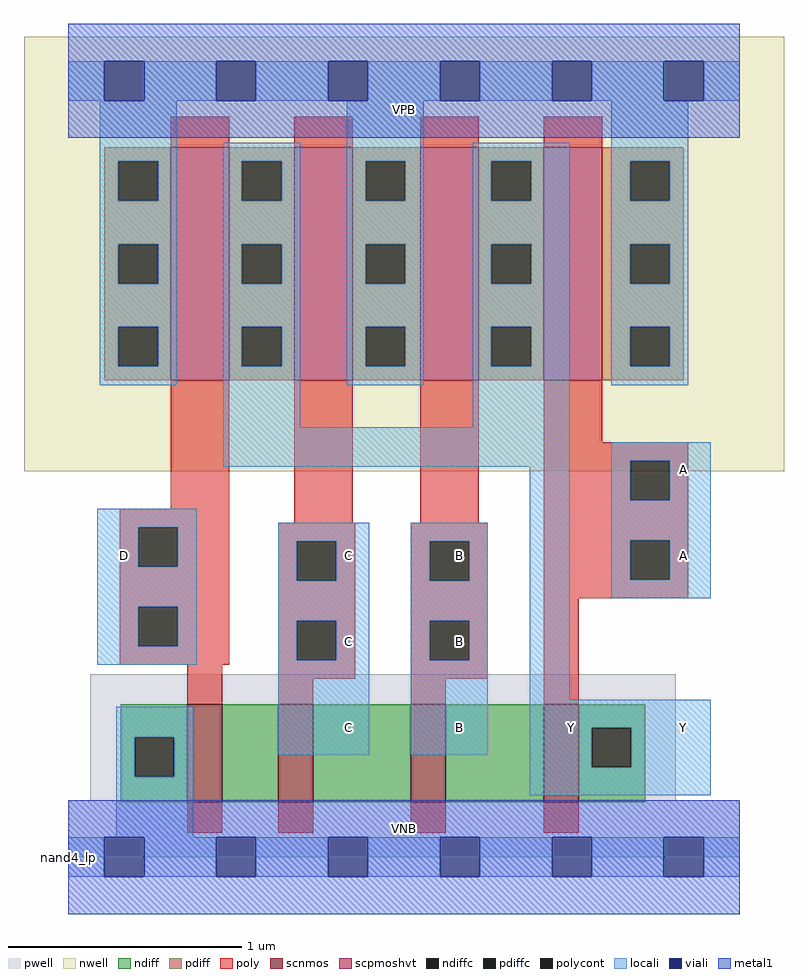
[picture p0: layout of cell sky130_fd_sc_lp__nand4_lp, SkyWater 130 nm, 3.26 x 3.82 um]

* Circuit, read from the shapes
.subckt sky130_fd_sc_lp__nand4_lp A B C D VGND VNB VPB VPWR Y
XM1 n1 D VGND VNB sky130_fd_pr__nfet_01v8 w=0.42 l=0.15
XM2 n2 C n1 VNB sky130_fd_pr__nfet_01v8 w=0.42 l=0.15
XM3 n3 B n2 VNB sky130_fd_pr__nfet_01v8 w=0.42 l=0.15
XM4 Y A n3 VNB sky130_fd_pr__nfet_01v8 w=0.42 l=0.15
XM5 Y D VPWR VPB sky130_fd_pr__pfet_01v8_hvt w=1 l=0.25
XM6 VPWR C Y VPB sky130_fd_pr__pfet_01v8_hvt w=1 l=0.25
XM7 Y B VPWR VPB sky130_fd_pr__pfet_01v8_hvt w=1 l=0.25
XM8 VPWR A Y VPB sky130_fd_pr__pfet_01v8_hvt w=1 l=0.25
.ends

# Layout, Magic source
magic
tech sky130A
magscale 1 2
<< nwell >>
rect -38 331 614 704
<< pwell >>
rect 19 49 521 157
rect 0 0 576 49
<< scnmos >>
rect 102 47 132 131
rect 180 47 210 131
rect 294 47 324 131
rect 408 47 438 131
<< scpmoshvt >>
rect 88 409 138 609
rect 194 409 244 609
rect 302 409 352 609
rect 408 409 458 609
<< ndiff >>
rect 45 103 102 131
rect 45 69 57 103
rect 91 69 102 103
rect 45 47 102 69
rect 132 47 180 131
rect 210 47 294 131
rect 324 47 408 131
rect 438 111 495 131
rect 438 77 449 111
rect 483 77 495 111
rect 438 47 495 77
<< pdiff >>
rect 31 597 88 609
rect 31 563 43 597
rect 77 563 88 597
rect 31 526 88 563
rect 31 492 43 526
rect 77 492 88 526
rect 31 455 88 492
rect 31 421 43 455
rect 77 421 88 455
rect 31 409 88 421
rect 138 597 194 609
rect 138 563 149 597
rect 183 563 194 597
rect 138 526 194 563
rect 138 492 149 526
rect 183 492 194 526
rect 138 455 194 492
rect 138 421 149 455
rect 183 421 194 455
rect 138 409 194 421
rect 244 597 302 609
rect 244 563 255 597
rect 289 563 302 597
rect 244 526 302 563
rect 244 492 255 526
rect 289 492 302 526
rect 244 455 302 492
rect 244 421 255 455
rect 289 421 302 455
rect 244 409 302 421
rect 352 597 408 609
rect 352 563 363 597
rect 397 563 408 597
rect 352 526 408 563
rect 352 492 363 526
rect 397 492 408 526
rect 352 455 408 492
rect 352 421 363 455
rect 397 421 408 455
rect 352 409 408 421
rect 458 597 528 609
rect 458 563 482 597
rect 516 563 528 597
rect 458 526 528 563
rect 458 492 482 526
rect 516 492 528 526
rect 458 455 528 492
rect 458 421 482 455
rect 516 421 528 455
rect 458 409 528 421
<< ndiffc >>
rect 57 69 91 103
rect 449 77 483 111
<< pdiffc >>
rect 43 563 77 597
rect 43 492 77 526
rect 43 421 77 455
rect 149 563 183 597
rect 149 492 183 526
rect 149 421 183 455
rect 255 563 289 597
rect 255 492 289 526
rect 255 421 289 455
rect 363 563 397 597
rect 363 492 397 526
rect 363 421 397 455
rect 482 563 516 597
rect 482 492 516 526
rect 482 421 516 455
<< poly >>
rect 88 609 138 635
rect 194 609 244 635
rect 302 609 352 635
rect 408 609 458 635
rect 88 299 138 409
rect 44 283 138 299
rect 194 287 244 409
rect 302 287 352 409
rect 408 356 458 409
rect 408 340 532 356
rect 408 306 482 340
rect 516 306 532 340
rect 44 249 60 283
rect 94 249 138 283
rect 44 215 138 249
rect 44 181 60 215
rect 94 181 138 215
rect 44 165 138 181
rect 180 271 246 287
rect 180 237 196 271
rect 230 237 246 271
rect 180 203 246 237
rect 180 169 196 203
rect 230 169 246 203
rect 102 131 132 165
rect 180 153 246 169
rect 294 271 360 287
rect 294 237 310 271
rect 344 237 360 271
rect 294 203 360 237
rect 294 169 310 203
rect 344 169 360 203
rect 294 153 360 169
rect 408 272 532 306
rect 408 238 482 272
rect 516 238 532 272
rect 408 222 532 238
rect 180 131 210 153
rect 294 131 324 153
rect 408 131 438 222
rect 102 21 132 47
rect 180 21 210 47
rect 294 21 324 47
rect 408 21 438 47
<< polycont >>
rect 482 306 516 340
rect 60 249 94 283
rect 60 181 94 215
rect 196 237 230 271
rect 196 169 230 203
rect 310 237 344 271
rect 310 169 344 203
rect 482 238 516 272
<< locali >>
rect 0 649 31 683
rect 65 649 127 683
rect 161 649 223 683
rect 257 649 319 683
rect 353 649 415 683
rect 449 649 511 683
rect 545 649 576 683
rect 27 597 93 649
rect 27 563 43 597
rect 77 563 93 597
rect 27 526 93 563
rect 27 492 43 526
rect 77 492 93 526
rect 27 455 93 492
rect 27 421 43 455
rect 77 421 93 455
rect 27 405 93 421
rect 133 597 199 613
rect 133 563 149 597
rect 183 563 199 597
rect 133 526 199 563
rect 133 492 149 526
rect 183 492 199 526
rect 133 455 199 492
rect 133 421 149 455
rect 183 421 199 455
rect 133 369 199 421
rect 239 597 305 649
rect 239 563 255 597
rect 289 563 305 597
rect 239 526 305 563
rect 239 492 255 526
rect 289 492 305 526
rect 239 455 305 492
rect 239 421 255 455
rect 289 421 305 455
rect 239 405 305 421
rect 347 597 430 613
rect 347 563 363 597
rect 397 563 430 597
rect 347 526 430 563
rect 347 492 363 526
rect 397 492 430 526
rect 347 455 430 492
rect 347 421 363 455
rect 397 421 430 455
rect 347 369 430 421
rect 466 597 532 649
rect 466 563 482 597
rect 516 563 532 597
rect 466 526 532 563
rect 466 492 482 526
rect 516 492 532 526
rect 466 455 532 492
rect 466 421 482 455
rect 516 421 532 455
rect 466 405 532 421
rect 133 335 430 369
rect 25 283 110 299
rect 25 249 60 283
rect 94 249 110 283
rect 25 215 110 249
rect 25 181 60 215
rect 94 181 110 215
rect 25 165 110 181
rect 180 271 258 287
rect 180 237 196 271
rect 230 237 258 271
rect 180 203 258 237
rect 180 169 196 203
rect 230 169 258 203
rect 41 103 107 129
rect 41 69 57 103
rect 91 69 107 103
rect 180 88 258 169
rect 294 271 360 287
rect 294 237 310 271
rect 344 237 360 271
rect 294 203 360 237
rect 294 169 310 203
rect 344 169 360 203
rect 294 88 360 169
rect 396 135 430 335
rect 466 340 551 356
rect 466 306 482 340
rect 516 306 551 340
rect 466 272 551 306
rect 466 238 482 272
rect 516 238 551 272
rect 466 222 551 238
rect 396 111 551 135
rect 41 17 107 69
rect 396 77 449 111
rect 483 77 551 111
rect 396 53 551 77
rect 0 -17 31 17
rect 65 -17 127 17
rect 161 -17 223 17
rect 257 -17 319 17
rect 353 -17 415 17
rect 449 -17 511 17
rect 545 -17 576 17
<< viali >>
rect 31 649 65 683
rect 127 649 161 683
rect 223 649 257 683
rect 319 649 353 683
rect 415 649 449 683
rect 511 649 545 683
rect 31 -17 65 17
rect 127 -17 161 17
rect 223 -17 257 17
rect 319 -17 353 17
rect 415 -17 449 17
rect 511 -17 545 17
<< metal1 >>
rect 0 683 576 715
rect 0 649 31 683
rect 65 649 127 683
rect 161 649 223 683
rect 257 649 319 683
rect 353 649 415 683
rect 449 649 511 683
rect 545 649 576 683
rect 0 617 576 649
rect 0 17 576 49
rect 0 -17 31 17
rect 65 -17 127 17
rect 161 -17 223 17
rect 257 -17 319 17
rect 353 -17 415 17
rect 449 -17 511 17
rect 545 -17 576 17
rect 0 -49 576 -17
<< labels >>
flabel pwell s 0 0 576 49 0 FreeSans 200 0 0 0 VNB
port 6 nsew ground bidirectional
flabel nwell s 0 617 576 666 0 FreeSans 200 0 0 0 VPB
port 7 nsew power bidirectional
rlabel comment s 0 0 0 0 4 nand4_lp
flabel metal1 s 0 617 576 666 0 FreeSans 340 0 0 0 VPWR
port 8 nsew power bidirectional
flabel metal1 s 0 0 576 49 0 FreeSans 340 0 0 0 VGND
port 5 nsew ground bidirectional
flabel locali s 223 94 257 128 0 FreeSans 340 0 0 0 C
port 3 nsew signal input
flabel locali s 223 168 257 202 0 FreeSans 340 0 0 0 C
port 3 nsew signal input
flabel locali s 223 242 257 276 0 FreeSans 340 0 0 0 C
port 3 nsew signal input
flabel locali s 319 94 353 128 0 FreeSans 340 0 0 0 B
port 2 nsew signal input
flabel locali s 319 168 353 202 0 FreeSans 340 0 0 0 B
port 2 nsew signal input
flabel locali s 319 242 353 276 0 FreeSans 340 0 0 0 B
port 2 nsew signal input
flabel locali s 31 242 65 276 0 FreeSans 340 0 0 0 D
port 4 nsew signal input
flabel locali s 511 242 545 276 0 FreeSans 340 0 0 0 A
port 1 nsew signal input
flabel locali s 511 316 545 350 0 FreeSans 340 0 0 0 A
port 1 nsew signal input
flabel locali s 415 94 449 128 0 FreeSans 340 0 0 0 Y
port 9 nsew signal output
flabel locali s 511 94 545 128 0 FreeSans 340 0 0 0 Y
port 9 nsew signal output
<< properties >>
string LEFsite unit
string LEFclass CORE
string FIXED_BBOX 0 0 576 666
string GDS_FILE $PDKPATH/libs.ref/sky130_fd_sc_lp/gds/sky130_fd_sc_lp.gds
string LEFsymmetry X Y R90
string GDS_END 4654096
string GDS_START 4647896
<< end >>
